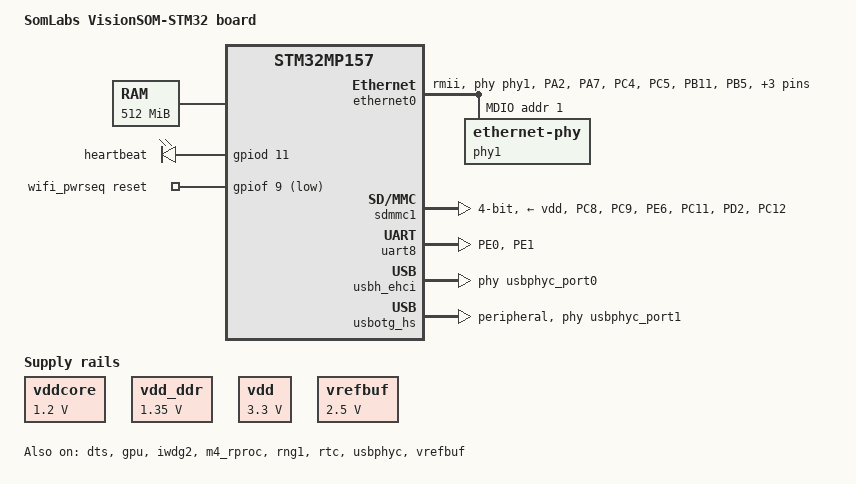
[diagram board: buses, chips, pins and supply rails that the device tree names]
// SPDX-License-Identifier: (GPL-2.0+ OR BSD-3-Clause)
/*
 * Copyright (c) SomLabs 2019
 * Copyright (C) STMicroelectronics 2018 - All Rights Reserved
 * Author: Alexandre Torgue <alexandre.torgue@st.com>.
 */

/dts-v1/;

#include "stm32mp157c.dtsi"
#include "stm32mp157c-m4-srm.dtsi"
#include "stm32mp157cab-pinctrl.dtsi"
#include <dt-bindings/gpio/gpio.h>
#include <dt-bindings/input/input.h>

/ {
	model = "SomLabs VisionSOM-STM32 board";
	compatible = "st,stm32mp157a-visionsom", "st,stm32mp157a-dk1", "st,stm32mp157";

	aliases {
		ethernet0 = &ethernet0;
		serial0 = &uart8;
        serial1 = &uart7;
	};

	chosen {
		stdout-path = "serial0:115200n8";
	};

	memory@c0000000 {
		reg = <0xc0000000 0x20000000>;
	};

	reserved-memory {
		#address-cells = <1>;
		#size-cells = <1>;
		ranges;

		retram: retram@0x38000000 {
			compatible = "shared-dma-pool";
			reg = <0x38000000 0x10000>;
			no-map;
		};

		mcuram: mcuram@0x30000000 {
			compatible = "shared-dma-pool";
			reg = <0x30000000 0x40000>;
			no-map;
		};

		mcuram2: mcuram2@0x10000000 {
			compatible = "shared-dma-pool";
			reg = <0x10000000 0x40000>;
			no-map;
		};

		vdev0vring0: vdev0vring0@10040000 {
			compatible = "shared-dma-pool";
			reg = <0x10040000 0x2000>;
			no-map;
		};

		vdev0vring1: vdev0vring1@10042000 {
			compatible = "shared-dma-pool";
			reg = <0x10042000 0x2000>;
			no-map;
		};

		vdev0buffer: vdev0buffer@10044000 {
			compatible = "shared-dma-pool";
			reg = <0x10044000 0x4000>;
			no-map;
		};

		gpu_reserved: gpu@dc000000 {
			reg = <0xdc000000 0x4000000>;
			no-map;
		};
	};

	sram: sram@10050000 {
		compatible = "mmio-sram";
		reg = <0x10050000 0x10000>;
		#address-cells = <1>;
		#size-cells = <1>;
		ranges = <0 0x10050000 0x10000>;

		dma_pool: dma_pool@0 {
			reg = <0x0 0x10000>;
			pool;
		};
	};

	led {
		compatible = "gpio-leds";
		blue {
			label = "heartbeat";
			gpios = <&gpiod 11 GPIO_ACTIVE_HIGH>;
			linux,default-trigger = "heartbeat";
			default-state = "off";
		};
	};

	usb_phy_tuning: usb-phy-tuning {
		st,hs-dc-level = <2>;
		st,fs-rftime-tuning;
		st,hs-rftime-reduction;
		st,hs-current-trim = <15>;
		st,hs-impedance-trim = <1>;
		st,squelch-level = <3>;
		st,hs-rx-offset = <2>;
		st,no-lsfs-sc;
	};

    vddcore: regulator-vddcore {
        compatible = "regulator-fixed";
        regulator-name = "vddcore";
        regulator-min-microvolt = <1200000>;
        regulator-max-microvolt = <1200000>;
        enable-active-high;
        regulator-always-on;
        regulator-initial-mode = <0>;
        //regulator-over-current-protection;
    };

    vdd_ddr: regulator_cvv_ddr {
        compatible = "regulator-fixed";
        regulator-name = "vdd_ddr";
        regulator-min-microvolt = <1350000>;
        regulator-max-microvolt = <1350000>;
        enable-active-high;
        regulator-always-on;
        regulator-initial-mode = <0>;
        //regulator-over-current-protection;
    };

    vdd: regulator_vdd {
        compatible = "regulator-fixed";
        regulator-name = "vdd";
        regulator-min-microvolt = <3300000>;
        regulator-max-microvolt = <3300000>;
        enable-active-high;
        regulator-always-on;
        regulator-initial-mode = <0>;
        //regulator-over-current-protection;
    };

    wifi_pwrseq: wifi-pwrseq {      /* WLAN-ENABLE/WL_REG_ON */
		compatible = "mmc-pwrseq-simple";
		reset-gpios = <&gpiof 9 GPIO_ACTIVE_LOW>;
	};

};

&dma1 {
	sram = <&dma_pool>;
};

&dma2 {
	sram = <&dma_pool>;
};

&dts {
	status = "okay";
};

&ethernet0 {
	status = "okay";
	pinctrl-0 = <&eth1_pins_mx>;
	pinctrl-1 = <&eth1_sleep_pins_mx>;
	pinctrl-names = "default", "sleep";
	phy-mode = "rmii";
	max-speed = <100>;
	phy-handle = <&phy1>;
	st,eth_ref_clk_sel = <1>;
	clock-names = "stmmaceth",
		"mac-clk-tx",
		"mac-clk-rx",
		"eth-ck",
		"syscfg-clk",
		"ethstp";
	clocks = <&rcc ETHMAC>,
		<&rcc ETHTX>,
		<&rcc ETHRX>,
		<&rcc ETHCK_K>,
		<&rcc SYSCFG>,
		<&rcc ETHSTP>;

	mdio0 {
		#address-cells = <1>;
		#size-cells = <0>;
		compatible = "snps,dwmac-mdio";
		phy1: ethernet-phy@1 {
			reg = <1>;
		};
	};
};

&gpu {
	contiguous-area = <&gpu_reserved>;
	status = "okay";
};

&ipcc {
	status = "okay";
};

&iwdg2 {
	timeout-sec = <32>;
	status = "okay";
};

&m4_rproc {
	memory-region = <&retram>, <&mcuram>, <&mcuram2>, <&vdev0vring0>,
			<&vdev0vring1>, <&vdev0buffer>;
	mboxes = <&ipcc 0>, <&ipcc 1>, <&ipcc 2>;
	mbox-names = "vq0", "vq1", "shutdown";
	interrupt-parent = <&exti>;
	interrupts = <68 1>;
	interrupt-names = "wdg";
	recovery;
	status = "okay";
};

&pwr {
	pwr-supply = <&vdd>;
};

&rng1 {
	status = "okay";
};

&rtc {
	status = "okay";
};

&sdmmc1 {
	pinctrl-names = "default", "opendrain", "sleep";
	//pinctrl-0 = <&sdmmc1_pins_mx &sdmmc1_pins_d47_mx>;
	pinctrl-0 = <&sdmmc1_pins_mx>;
	pinctrl-1 = <&sdmmc1_opendrain_pins_mx>;
	pinctrl-2 = <&sdmmc1_sleep_pins_mx>;
	st,neg-edge;
	vmmc-supply = <&vdd>;
	status = "okay";
// SD coard socket config
	broken-cd;
	bus-width = <4>;
	// eMMC
//	non-removable;
//	no-sd;
//	no-sdio;
//	bus-width = <1>;
//	vqmmc-supply = <&vdd>;
//	mmc-ddr-3_3v;
};

&uart8 {
	pinctrl-names = "default", "sleep", "idle", "no_console_suspend";
	pinctrl-0 = <&uart8_pins_mx>;
	pinctrl-1 = <&uart8_sleep_pins_mx>;
	pinctrl-2 = <&uart8_sleep_pins_mx>;
	pinctrl-3 = <&uart8_pins_mx>;
	status = "okay";
};

&usbh_ehci {
	phys = <&usbphyc_port0>;
	phy-names = "usb";
	status = "okay";
};

&usbotg_hs {
	dr_mode = "peripheral";
	force-b-session-valid;
	phys = <&usbphyc_port1 0>;
	phy-names = "usb2-phy";
	status = "okay";
};

&usbphyc {
	vdd3v3-supply = <&vdd>;
	status = "okay";
};

&usbphyc_port0 {
	st,phy-tuning = <&usb_phy_tuning>;
};

&usbphyc_port1 {
	st,phy-tuning = <&usb_phy_tuning>;
};

&vrefbuf {
	regulator-min-microvolt = <2500000>;
	regulator-max-microvolt = <2500000>;
	vdda-supply = <&vdd>;
	status = "okay";
};

&rcc{
	pinctrl-names = "default", "sleep";
	pinctrl-0 = <&rcc_pins_mx>;
	pinctrl-1 = <&rcc_sleep_pins_mx>;
	status = "okay";
};

&pinctrl {


	adc_pins_mx: adc_mx-0 {
		pins {
			pinmux = <STM32_PINMUX('A', 0, ANALOG)>, /* ADC1_INP16 */
					 <STM32_PINMUX('B', 1, ANALOG)>, /* ADC1_INP5 */
					 <STM32_PINMUX('C', 0, ANALOG)>, /* ADC1_INP10 */
					 <STM32_PINMUX('C', 3, ANALOG)>; /* ADC1_INP13 */
		};
	};

	adc_sleep_pins_mx: adc_sleep_mx-0 {
		pins {
			pinmux = <STM32_PINMUX('A', 0, ANALOG)>, /* ADC1_INP16 */
					 <STM32_PINMUX('B', 1, ANALOG)>, /* ADC1_INP5 */
					 <STM32_PINMUX('C', 0, ANALOG)>, /* ADC1_INP10 */
					 <STM32_PINMUX('C', 3, ANALOG)>; /* ADC1_INP13 */
		};
	};

	eth1_pins_mx: eth1_mx-0 {
		pins1 {
			pinmux = <STM32_PINMUX('A', 2, AF11)>; /* ETH1_MDIO */
			bias-pull-up;
			drive-push-pull;
			slew-rate = <0>;
		};
		pins2 {
			pinmux = <STM32_PINMUX('A', 7, AF11)>, /* ETH1_CRS_DV */
					 <STM32_PINMUX('C', 4, AF11)>, /* ETH1_RXD0 */
					 <STM32_PINMUX('C', 5, AF11)>; /* ETH1_RXD1 */
			bias-disable;
		};
		pins3 {
			pinmux = <STM32_PINMUX('B', 11, AF11)>; /* ETH1_TX_EN */
		};
		pins4 {
			pinmux = <STM32_PINMUX('B', 5, AF0)>, /* ETH1_CLK */
					 <STM32_PINMUX('B', 13, AF11)>, /* ETH1_TXD1 */
					 <STM32_PINMUX('G', 13, AF11)>, /* ETH1_TXD0 */
					 <STM32_PINMUX('C', 1, AF11)>; /* ETH1_MDC */
			bias-disable;
			drive-push-pull;
			slew-rate = <2>;
		};
	};

	eth1_sleep_pins_mx: eth1_sleep_mx-0 {
		pins {
			pinmux = <STM32_PINMUX('A', 2, ANALOG)>, /* ETH1_MDIO */
					 <STM32_PINMUX('A', 7, ANALOG)>, /* ETH1_CRS_DV */
					 <STM32_PINMUX('B', 5, ANALOG)>, /* ETH1_CLK */
					 <STM32_PINMUX('B', 11, ANALOG)>, /* ETH1_TX_EN */
					 <STM32_PINMUX('B', 13, ANALOG)>, /* ETH1_TXD1 */
					 <STM32_PINMUX('C', 1, ANALOG)>, /* ETH1_MDC */
					 <STM32_PINMUX('C', 4, ANALOG)>, /* ETH1_RXD0 */
					 <STM32_PINMUX('C', 5, ANALOG)>, /* ETH1_RXD1 */
					 <STM32_PINMUX('G', 13, ANALOG)>; /* ETH1_TXD0 */
		};
	};

	ltdc_pins_mx: ltdc_mx-0 {
		pins1 {
			pinmux = <STM32_PINMUX('A', 3, AF14)>, /* LTDC_B5 */
					 <STM32_PINMUX('A', 4, AF14)>, /* LTDC_VSYNC */
					 <STM32_PINMUX('A', 5, AF14)>, /* LTDC_R4 */
					 <STM32_PINMUX('A', 6, AF14)>, /* LTDC_G2 */
					 <STM32_PINMUX('A', 8, AF14)>, /* LTDC_R6 */
					 <STM32_PINMUX('A', 9, AF14)>, /* LTDC_R5 */
					 <STM32_PINMUX('B', 0, AF9)>, /* LTDC_R3 */
					 <STM32_PINMUX('B', 8, AF14)>, /* LTDC_B6 */
					 <STM32_PINMUX('B', 9, AF14)>, /* LTDC_B7 */
					 <STM32_PINMUX('B', 10, AF14)>, /* LTDC_G4 */
					 <STM32_PINMUX('C', 6, AF14)>, /* LTDC_HSYNC */
					 <STM32_PINMUX('C', 7, AF14)>, /* LTDC_G6 */
					 <STM32_PINMUX('C', 10, AF14)>, /* LTDC_R2 */
					 <STM32_PINMUX('D', 6, AF14)>, /* LTDC_B2 */
					 <STM32_PINMUX('D', 10, AF14)>, /* LTDC_B3 */
					 <STM32_PINMUX('E', 11, AF14)>, /* LTDC_G3 */
					 <STM32_PINMUX('E', 12, AF14)>, /* LTDC_B4 */
					 <STM32_PINMUX('E', 13, AF14)>, /* LTDC_DE */
					 <STM32_PINMUX('E', 15, AF14)>, /* LTDC_R7 */
					 <STM32_PINMUX('F', 11, AF14)>, /* LTDC_G5 */
					 <STM32_PINMUX('G', 8, AF14)>; /* LTDC_G7 */
			bias-disable;
			drive-push-pull;
			slew-rate = <0>;
		};
		pins2 {
			pinmux = <STM32_PINMUX('E', 14, AF14)>; /* LTDC_CLK */
			bias-disable;
			drive-push-pull;
			slew-rate = <1>;
		};
	};

	ltdc_sleep_pins_mx: ltdc_sleep_mx-0 {
		pins {
			pinmux = <STM32_PINMUX('A', 3, ANALOG)>, /* LTDC_B5 */
					 <STM32_PINMUX('A', 4, ANALOG)>, /* LTDC_VSYNC */
					 <STM32_PINMUX('A', 5, ANALOG)>, /* LTDC_R4 */
					 <STM32_PINMUX('A', 6, ANALOG)>, /* LTDC_G2 */
					 <STM32_PINMUX('A', 8, ANALOG)>, /* LTDC_R6 */
					 <STM32_PINMUX('A', 9, ANALOG)>, /* LTDC_R5 */
					 <STM32_PINMUX('B', 0, ANALOG)>, /* LTDC_R3 */
					 <STM32_PINMUX('B', 8, ANALOG)>, /* LTDC_B6 */
					 <STM32_PINMUX('B', 9, ANALOG)>, /* LTDC_B7 */
					 <STM32_PINMUX('B', 10, ANALOG)>, /* LTDC_G4 */
					 <STM32_PINMUX('C', 6, ANALOG)>, /* LTDC_HSYNC */
					 <STM32_PINMUX('C', 7, ANALOG)>, /* LTDC_G6 */
					 <STM32_PINMUX('C', 10, ANALOG)>, /* LTDC_R2 */
					 <STM32_PINMUX('D', 6, ANALOG)>, /* LTDC_B2 */
					 <STM32_PINMUX('D', 10, ANALOG)>, /* LTDC_B3 */
					 <STM32_PINMUX('E', 11, ANALOG)>, /* LTDC_G3 */
					 <STM32_PINMUX('E', 12, ANALOG)>, /* LTDC_B4 */
					 <STM32_PINMUX('E', 13, ANALOG)>, /* LTDC_DE */
					 <STM32_PINMUX('E', 14, ANALOG)>, /* LTDC_CLK */
					 <STM32_PINMUX('E', 15, ANALOG)>, /* LTDC_R7 */
					 <STM32_PINMUX('F', 11, ANALOG)>, /* LTDC_G5 */
					 <STM32_PINMUX('G', 8, ANALOG)>; /* LTDC_G7 */
		};
	};

	rcc_pins_mx: rcc_mx-0 {
		pins {
			pinmux = <STM32_PINMUX('A', 13, AF2)>; /* RCC_MCO_1 */
			bias-disable;
			drive-push-pull;
			slew-rate = <0>;
		};
	};

	rcc_sleep_pins_mx: rcc_sleep_mx-0 {
		pins {
			pinmux = <STM32_PINMUX('A', 13, ANALOG)>; /* RCC_MCO_1 */
		};
	};

	sdmmc1_pins_mx: sdmmc1_mx-0 {
		pins1 {
            pinmux = <STM32_PINMUX('C', 8, AF12)>, /* SDMMC1_D0 */
                    <STM32_PINMUX('C', 9, AF12)>, /* SDMMC1_D1 */
                    <STM32_PINMUX('E', 6, AF8)>, /* SDMMC1_D2 */
                    <STM32_PINMUX('C', 11, AF12)>, /* SDMMC1_D3 */
                    <STM32_PINMUX('D', 2, AF12)>; /* SDMMC1_CMD */
            slew-rate = <1>;
            drive-push-pull;
            bias-disable;
		};
        pins2 {
            pinmux = <STM32_PINMUX('C', 12, AF12)>; /* SDMMC1_CK */
            slew-rate = <2>;
            drive-push-pull;
            bias-disable;
        };
	};

	sdmmc1_pins_d47_mx: sdmmc1_d47_mx-0 {
		pins1 {
			u-boot,dm-pre-reloc;
			pinmux = <STM32_PINMUX('A', 15, AF11)>, /* SDMMC1_D5 */
					 <STM32_PINMUX('D', 3, AF11)>, /* SDMMC1_D7 */
					 <STM32_PINMUX('E', 4, AF11)>, /* SDMMC1_D4 */
					 <STM32_PINMUX('E', 5, AF11)>; /* SDMMC1_D6 */
			bias-disable;
			drive-push-pull;
			slew-rate = <1>;
		};
	};

	sdmmc1_opendrain_pins_mx: sdmmc1_opendrain_mx-0 {
        pins1 {
            pinmux = <STM32_PINMUX('C', 8, AF12)>, /* SDMMC1_D0 */
                    <STM32_PINMUX('C', 9, AF12)>, /* SDMMC1_D1 */
                    <STM32_PINMUX('E', 6, AF8)>, /* SDMMC1_D2 */
                    <STM32_PINMUX('C', 11, AF12)>; /* SDMMC1_D3 */
            slew-rate = <1>;
            drive-push-pull;
            bias-disable;
        };
        pins2 {
            pinmux = <STM32_PINMUX('C', 12, AF12)>; /* SDMMC1_CK */
            slew-rate = <2>;
            drive-push-pull;
            bias-disable;
        };
        pins3 {
            pinmux = <STM32_PINMUX('D', 2, AF12)>; /* SDMMC1_CMD */
            slew-rate = <1>;
            drive-open-drain;
            bias-disable;
        };
	};

	sdmmc1_sleep_pins_mx: sdmmc1_sleep_mx-0 {
        pins {
            pinmux = <STM32_PINMUX('C', 8, ANALOG)>, /* SDMMC1_D0 */
                    <STM32_PINMUX('C', 9, ANALOG)>, /* SDMMC1_D1 */
                    <STM32_PINMUX('E', 6, ANALOG)>, /* SDMMC1_D2 */
                    <STM32_PINMUX('C', 11, ANALOG)>, /* SDMMC1_D3 */
                    <STM32_PINMUX('C', 12, ANALOG)>, /* SDMMC1_CK */
                    <STM32_PINMUX('D', 2, ANALOG)>; /* SDMMC1_CMD */
        };
	};

	sdmmc2_pins_mx: sdmmc2_mx-0 {
		pins1 {
			pinmux = <STM32_PINMUX('B', 3, AF9)>, /* SDMMC2_D2 */
					 <STM32_PINMUX('B', 4, AF9)>, /* SDMMC2_D3 */
					 <STM32_PINMUX('B', 14, AF9)>, /* SDMMC2_D0 */
					 <STM32_PINMUX('B', 15, AF9)>, /* SDMMC2_D1 */
					 <STM32_PINMUX('G', 6, AF10)>; /* SDMMC2_CMD */
			bias-disable;
			drive-push-pull;
			slew-rate = <1>;
		};
		pins2 {
			pinmux = <STM32_PINMUX('E', 3, AF9)>; /* SDMMC2_CK */
			bias-disable;
			drive-push-pull;
			slew-rate = <3>;
		};
	};

	sdmmc2_opendrain_pins_mx: sdmmc2_opendrain_mx-0 {
		pins1 {
			pinmux = <STM32_PINMUX('B', 3, AF9)>, /* SDMMC2_D2 */
					 <STM32_PINMUX('B', 4, AF9)>, /* SDMMC2_D3 */
					 <STM32_PINMUX('B', 14, AF9)>, /* SDMMC2_D0 */
					 <STM32_PINMUX('B', 15, AF9)>; /* SDMMC2_D1 */
			bias-disable;
			drive-push-pull;
			slew-rate = <1>;
		};
		pins2 {
			pinmux = <STM32_PINMUX('E', 3, AF9)>; /* SDMMC2_CK */
			bias-disable;
			drive-push-pull;
			slew-rate = <3>;
		};
		pins3 {
			pinmux = <STM32_PINMUX('G', 6, AF10)>; /* SDMMC2_CMD */
			bias-disable;
			drive-open-drain;
			slew-rate = <1>;
		};
	};

	sdmmc2_sleep_pins_mx: sdmmc2_sleep_mx-0 {
		pins {
			pinmux = <STM32_PINMUX('B', 3, ANALOG)>, /* SDMMC2_D2 */
					 <STM32_PINMUX('B', 4, ANALOG)>, /* SDMMC2_D3 */
					 <STM32_PINMUX('B', 14, ANALOG)>, /* SDMMC2_D0 */
					 <STM32_PINMUX('B', 15, ANALOG)>, /* SDMMC2_D1 */
					 <STM32_PINMUX('E', 3, ANALOG)>, /* SDMMC2_CK */
					 <STM32_PINMUX('G', 6, ANALOG)>; /* SDMMC2_CMD */
		};
	};

	sdmmc3_pins_mx: sdmmc3_mx-0 {
		pins1 {
			pinmux = <STM32_PINMUX('D', 0, AF10)>, /* SDMMC3_CMD */
					 <STM32_PINMUX('D', 1, AF10)>, /* SDMMC3_D0 */
					 <STM32_PINMUX('D', 4, AF10)>, /* SDMMC3_D1 */
					 <STM32_PINMUX('D', 5, AF10)>, /* SDMMC3_D2 */
					 <STM32_PINMUX('D', 7, AF10)>; /* SDMMC3_D3 */
			bias-disable;
			drive-push-pull;
			slew-rate = <1>;
		};
		pins2 {
			pinmux = <STM32_PINMUX('G', 15, AF10)>; /* SDMMC3_CK */
			bias-disable;
			drive-push-pull;
			slew-rate = <3>;
		};
	};

	sdmmc3_opendrain_pins_mx: sdmmc3_opendrain_mx-0 {
		pins1 {
			pinmux = <STM32_PINMUX('D', 0, AF10)>; /* SDMMC3_CMD */
			bias-disable;
			drive-open-drain;
			slew-rate = <1>;
		};
		pins2 {
			pinmux = <STM32_PINMUX('D', 1, AF10)>, /* SDMMC3_D0 */
					 <STM32_PINMUX('D', 4, AF10)>, /* SDMMC3_D1 */
					 <STM32_PINMUX('D', 5, AF10)>, /* SDMMC3_D2 */
					 <STM32_PINMUX('D', 7, AF10)>; /* SDMMC3_D3 */
			bias-disable;
			drive-push-pull;
			slew-rate = <1>;
		};
		pins3 {
			pinmux = <STM32_PINMUX('G', 15, AF10)>; /* SDMMC3_CK */
			bias-disable;
			drive-push-pull;
			slew-rate = <3>;
		};
	};

	sdmmc3_sleep_pins_mx: sdmmc3_sleep_mx-0 {
		pins {
			pinmux = <STM32_PINMUX('D', 0, ANALOG)>, /* SDMMC3_CMD */
					 <STM32_PINMUX('D', 1, ANALOG)>, /* SDMMC3_D0 */
					 <STM32_PINMUX('D', 4, ANALOG)>, /* SDMMC3_D1 */
					 <STM32_PINMUX('D', 5, ANALOG)>, /* SDMMC3_D2 */
					 <STM32_PINMUX('D', 7, ANALOG)>, /* SDMMC3_D3 */
					 <STM32_PINMUX('G', 15, ANALOG)>; /* SDMMC3_CK */
		};
	};

	uart4_pins_mx: uart4_mx-0 {
		pins1 {
			pinmux = <STM32_PINMUX('B', 2, AF8)>; /* UART4_RX */
			bias-disable;
		};
		pins2 {
			pinmux = <STM32_PINMUX('G', 11, AF6)>; /* UART4_TX */
			bias-disable;
			drive-push-pull;
			slew-rate = <0>;
		};
	};

	uart4_sleep_pins_mx: uart4_sleep_mx-0 {
		pins {
			pinmux = <STM32_PINMUX('B', 2, ANALOG)>, /* UART4_RX */
					 <STM32_PINMUX('G', 11, ANALOG)>; /* UART4_TX */
		};
	};

	uart7_pins_mx: uart7_mx-0 {
		pins1 {
			pinmux = <STM32_PINMUX('E', 7, AF7)>, /* UART7_RX */
					 <STM32_PINMUX('E', 10, AF7)>; /* UART7_CTS */
			bias-disable;
		};
		pins2 {
			pinmux = <STM32_PINMUX('E', 8, AF7)>, /* UART7_TX */
					 <STM32_PINMUX('F', 8, AF7)>; /* UART7_RTS */
			bias-disable;
			drive-push-pull;
			slew-rate = <0>;
		};
	};

	uart7_sleep_pins_mx: uart7_sleep_mx-0 {
		pins {
			pinmux = <STM32_PINMUX('E', 7, ANALOG)>, /* UART7_RX */
					 <STM32_PINMUX('E', 8, ANALOG)>, /* UART7_TX */
					 <STM32_PINMUX('E', 10, ANALOG)>, /* UART7_CTS */
					 <STM32_PINMUX('F', 8, ANALOG)>; /* UART7_RTS */
		};
	};

	uart8_pins_mx: uart8_mx-0 {
		pins1 {
			pinmux = <STM32_PINMUX('E', 0, AF8)>; /* UART8_RX */
			bias-disable;
		};
		pins2 {
			pinmux = <STM32_PINMUX('E', 1, AF8)>; /* UART8_TX */
			bias-disable;
			drive-push-pull;
			slew-rate = <0>;
		};
	};

	uart8_sleep_pins_mx: uart8_sleep_mx-0 {
		pins {
			pinmux = <STM32_PINMUX('E', 0, ANALOG)>, /* UART8_RX */
					 <STM32_PINMUX('E', 1, ANALOG)>; /* UART8_TX */
		};
	};

	usart1_pins_mx: usart1_mx-0 {
		pins1 {
			pinmux = <STM32_PINMUX('A', 10, AF7)>, /* USART1_RX */
					 <STM32_PINMUX('A', 11, AF7)>; /* USART1_CTS */
			bias-disable;
		};
		pins2 {
			pinmux = <STM32_PINMUX('A', 12, AF7)>, /* USART1_RTS */
					 <STM32_PINMUX('B', 6, AF7)>; /* USART1_TX */
			bias-disable;
			drive-push-pull;
			slew-rate = <0>;
		};
	};

	usart1_sleep_pins_mx: usart1_sleep_mx-0 {
		pins {
			pinmux = <STM32_PINMUX('A', 10, ANALOG)>, /* USART1_RX */
					 <STM32_PINMUX('A', 11, ANALOG)>, /* USART1_CTS */
					 <STM32_PINMUX('A', 12, ANALOG)>, /* USART1_RTS */
					 <STM32_PINMUX('B', 6, ANALOG)>; /* USART1_TX */
		};
	};

	usart3_pins_mx: usart3_mx-0 {
		pins1 {
			pinmux = <STM32_PINMUX('D', 9, AF7)>, /* USART3_RX */
					 <STM32_PINMUX('D', 11, AF7)>; /* USART3_CTS */
			bias-disable;
		};
		pins2 {
			pinmux = <STM32_PINMUX('D', 8, AF7)>, /* USART3_TX */
					 <STM32_PINMUX('D', 12, AF7)>; /* USART3_RTS */
			bias-disable;
			drive-push-pull;
			slew-rate = <0>;
		};
	};

	usart3_sleep_pins_mx: usart3_sleep_mx-0 {
		pins {
			pinmux = <STM32_PINMUX('D', 8, ANALOG)>, /* USART3_TX */
					 <STM32_PINMUX('D', 9, ANALOG)>, /* USART3_RX */
					 <STM32_PINMUX('D', 11, ANALOG)>, /* USART3_CTS */
					 <STM32_PINMUX('D', 12, ANALOG)>; /* USART3_RTS */
		};
	};

	usart6_pins_mx: usart6_mx-0 {
		pins1 {
			pinmux = <STM32_PINMUX('G', 14, AF7)>; /* USART6_TX */
			bias-disable;
			drive-push-pull;
			slew-rate = <0>;
		};
		pins2 {
			pinmux = <STM32_PINMUX('G', 9, AF7)>; /* USART6_RX */
			bias-disable;
		};
	};

	usart6_sleep_pins_mx: usart6_sleep_mx-0 {
		pins {
			pinmux = <STM32_PINMUX('G', 9, ANALOG)>, /* USART6_RX */
					 <STM32_PINMUX('G', 14, ANALOG)>; /* USART6_TX */
		};
	};



};
